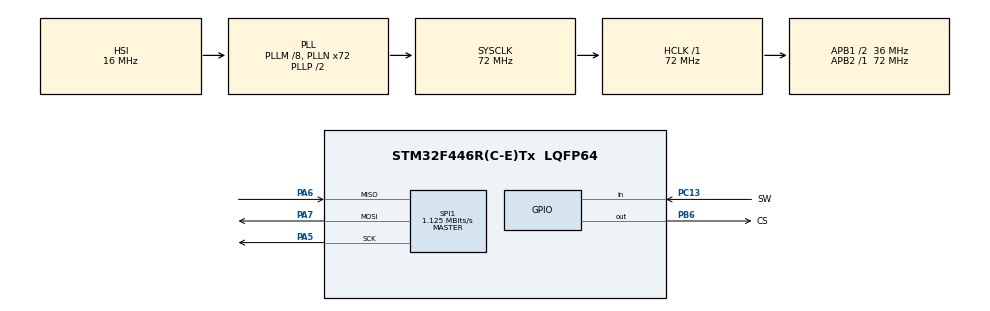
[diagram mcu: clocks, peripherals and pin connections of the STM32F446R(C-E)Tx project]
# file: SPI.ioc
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Mcu.Family=STM32F4
Mcu.Name=STM32F446R(C-E)Tx
Mcu.Package=LQFP64
NVIC.PriorityGroup=NVIC_PRIORITYGROUP_4
PA13.Mode=Serial_Wire
PA13.Signal=SYS_JTMS-SWDIO
PA14.Mode=Serial_Wire
PA14.Signal=SYS_JTCK-SWCLK
PA5.Mode=Full_Duplex_Master
PA5.Signal=SPI1_SCK
PA6.Mode=Full_Duplex_Master
PA6.Signal=SPI1_MISO
PA7.Mode=Full_Duplex_Master
PA7.Signal=SPI1_MOSI
PB6.GPIO_Label=CS
PB6.GPIO_Speed=GPIO_SPEED_FREQ_VERY_HIGH
PB6.PinState=GPIO_PIN_SET
PB6.Signal=GPIO_Output
PC13.GPIO_Label=SW
PC13.Signal=GPIO_Input
ProjectManager.HeapSize=0x200
ProjectManager.StackSize=0x400
ProjectManager.TargetToolchain=STM32CubeIDE
RCC.AHBFreq_Value=72000000
RCC.APB1CLKDivider=RCC_HCLK_DIV2
RCC.APB1Freq_Value=36000000
RCC.APB1TimFreq_Value=72000000
RCC.APB2Freq_Value=72000000
RCC.APB2TimFreq_Value=72000000
RCC.CortexFreq_Value=72000000
RCC.HCLKFreq_Value=72000000
RCC.PLLM=8
RCC.PLLN=72
RCC.SYSCLKFreq_VALUE=72000000
RCC.SYSCLKSource=RCC_SYSCLKSOURCE_PLLCLK
RCC.USBFreq_Value=72000000
RCC.VCOOutputFreq_Value=144000000
SPI1.BaudRatePrescaler=SPI_BAUDRATEPRESCALER_64
SPI1.CalculateBaudRate=1.125 MBits/s
SPI1.DataSize=SPI_DATASIZE_8BIT
SPI1.Direction=SPI_DIRECTION_2LINES
SPI1.Mode=SPI_MODE_MASTER
SPI1.VirtualType=VM_MASTER
board=custom

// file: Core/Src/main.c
/* USER CODE BEGIN Header */
/**
  ******************************************************************************
  * @file           : main.c
  * @brief          : Main program body
  ******************************************************************************
  * @attention
  *
  * Copyright (c) 2022 STMicroelectronics.
  * All rights reserved.
  *
  * This software is licensed under terms that can be found in the LICENSE file
  * in the root directory of this software component.
  * If no LICENSE file comes with this software, it is provided AS-IS.
  *
  ******************************************************************************
  */
/* USER CODE END Header */
#include "main.h"

SPI_HandleTypeDef hspi1;

void SystemClock_Config(void);
static void MX_GPIO_Init(void);
static void MX_SPI1_Init(void);
/* USER CODE BEGIN PFP */
void  MCP4131_Write(uint8_t value);
uint8_t MCP4131_Read(void);

/* USER CODE END PFP */

int main(void)
{

  /* MCU Configuration--------------------------------------------------------*/

  /* Reset of all peripherals, Initializes the Flash interface and the Systick. */
  HAL_Init();

  /* Configure the system clock */
  SystemClock_Config();

  /* Initialize all configured peripherals */
  MX_GPIO_Init();
  MX_SPI1_Init();
  /* USER CODE BEGIN 2 */
  uint8_t value=4;
  uint8_t button;

  value = MCP4131_Read();
  MCP4131_Write(value);

  value = MCP4131_Read();
    MCP4131_Write(value);

  /* USER CODE END 2 */

  /* Infinite loop */
  /* USER CODE BEGIN WHILE */
  while (1)
  {
	  button = HAL_GPIO_ReadPin(SW_GPIO_Port, SW_Pin);
      if(!button){
          if(value>128){
              value=0;
          }else{
              value++;
              MCP4131_Write(value);
              HAL_Delay(200);
          }

      }
    /* USER CODE END WHILE */

  }
}

void SystemClock_Config(void)
{
  RCC_OscInitTypeDef RCC_OscInitStruct = {0};
  RCC_ClkInitTypeDef RCC_ClkInitStruct = {0};

  /** Configure the main internal regulator output voltage
  */
  __HAL_RCC_PWR_CLK_ENABLE();
  __HAL_PWR_VOLTAGESCALING_CONFIG(PWR_REGULATOR_VOLTAGE_SCALE3);

  /** Initializes the RCC Oscillators according to the specified parameters
  * in the RCC_OscInitTypeDef structure.
  */
  RCC_OscInitStruct.OscillatorType = RCC_OSCILLATORTYPE_HSI;
  RCC_OscInitStruct.HSIState = RCC_HSI_ON;
  RCC_OscInitStruct.HSICalibrationValue = RCC_HSICALIBRATION_DEFAULT;
  RCC_OscInitStruct.PLL.PLLState = RCC_PLL_ON;
  RCC_OscInitStruct.PLL.PLLSource = RCC_PLLSOURCE_HSI;
  RCC_OscInitStruct.PLL.PLLM = 8;
  RCC_OscInitStruct.PLL.PLLN = 72;
  RCC_OscInitStruct.PLL.PLLP = RCC_PLLP_DIV2;
  RCC_OscInitStruct.PLL.PLLQ = 2;
  RCC_OscInitStruct.PLL.PLLR = 2;
  if (HAL_RCC_OscConfig(&RCC_OscInitStruct) != HAL_OK)
  {
    Error_Handler();
  }

  /** Initializes the CPU, AHB and APB buses clocks
  */
  RCC_ClkInitStruct.ClockType = RCC_CLOCKTYPE_HCLK|RCC_CLOCKTYPE_SYSCLK
                              |RCC_CLOCKTYPE_PCLK1|RCC_CLOCKTYPE_PCLK2;
  RCC_ClkInitStruct.SYSCLKSource = RCC_SYSCLKSOURCE_PLLCLK;
  RCC_ClkInitStruct.AHBCLKDivider = RCC_SYSCLK_DIV1;
  RCC_ClkInitStruct.APB1CLKDivider = RCC_HCLK_DIV2;
  RCC_ClkInitStruct.APB2CLKDivider = RCC_HCLK_DIV1;

  if (HAL_RCC_ClockConfig(&RCC_ClkInitStruct, FLASH_LATENCY_2) != HAL_OK)
  {
    Error_Handler();
  }
}

static void MX_SPI1_Init(void)
{

  /* SPI1 parameter configuration*/
  hspi1.Instance = SPI1;
  hspi1.Init.Mode = SPI_MODE_MASTER;
  hspi1.Init.Direction = SPI_DIRECTION_2LINES;
  hspi1.Init.DataSize = SPI_DATASIZE_8BIT;
  hspi1.Init.CLKPolarity = SPI_POLARITY_LOW;
  hspi1.Init.CLKPhase = SPI_PHASE_1EDGE;
  hspi1.Init.NSS = SPI_NSS_SOFT;
  hspi1.Init.BaudRatePrescaler = SPI_BAUDRATEPRESCALER_64;
  hspi1.Init.FirstBit = SPI_FIRSTBIT_MSB;
  hspi1.Init.TIMode = SPI_TIMODE_DISABLE;
  hspi1.Init.CRCCalculation = SPI_CRCCALCULATION_DISABLE;
  hspi1.Init.CRCPolynomial = 10;
  if (HAL_SPI_Init(&hspi1) != HAL_OK)
  {
    Error_Handler();
  }

}

static void MX_GPIO_Init(void)
{
  GPIO_InitTypeDef GPIO_InitStruct = {0};

  /* GPIO Ports Clock Enable */
  __HAL_RCC_GPIOC_CLK_ENABLE();
  __HAL_RCC_GPIOA_CLK_ENABLE();
  __HAL_RCC_GPIOB_CLK_ENABLE();

  /*Configure GPIO pin Output Level */
  HAL_GPIO_WritePin(CS_GPIO_Port, CS_Pin, GPIO_PIN_SET);

  /*Configure GPIO pin : SW_Pin */
  GPIO_InitStruct.Pin = SW_Pin;
  GPIO_InitStruct.Mode = GPIO_MODE_INPUT;
  GPIO_InitStruct.Pull = GPIO_NOPULL;
  HAL_GPIO_Init(SW_GPIO_Port, &GPIO_InitStruct);

  /*Configure GPIO pin : CS_Pin */
  GPIO_InitStruct.Pin = CS_Pin;
  GPIO_InitStruct.Mode = GPIO_MODE_OUTPUT_PP;
  GPIO_InitStruct.Pull = GPIO_NOPULL;
  GPIO_InitStruct.Speed = GPIO_SPEED_FREQ_VERY_HIGH;
  HAL_GPIO_Init(CS_GPIO_Port, &GPIO_InitStruct);

}

/* USER CODE BEGIN 4 */
void  MCP4131_Write(uint8_t value){ //0 - 128 (128 valores), 0=124ohmios y 128=46.8kohmios para 50kOhmios
	uint8_t MCP4131_WRITE = 0b00000000;
	//uint8_t MCP4131_READ  = 0b00001100;

	uint8_t buf_tx[2];
	uint8_t buf_rx[2];

	buf_tx[0] = MCP4131_WRITE;
	buf_tx[1] = value;

	HAL_GPIO_WritePin(CS_GPIO_Port, CS_Pin, RESET);
	HAL_SPI_TransmitReceive(&hspi1, buf_tx, buf_rx, 2, 100);
	HAL_GPIO_WritePin(CS_GPIO_Port, CS_Pin, SET);

}

uint8_t MCP4131_Read(void){
	uint8_t MCP4131_READ  = 0b00001100;

	uint8_t buf_tx[2];
	uint8_t buf_rx[2];

	buf_tx[0] = MCP4131_READ;
	buf_tx[1] = 255;

	HAL_GPIO_WritePin(CS_GPIO_Port, CS_Pin, RESET);
	HAL_SPI_TransmitReceive(&hspi1, buf_tx, buf_rx, 2, 100);
	HAL_GPIO_WritePin(CS_GPIO_Port, CS_Pin, SET);

	return buf_rx[1];

}

/* USER CODE END 4 */

void Error_Handler(void)
{
  __disable_irq();
  while (1)
  {
  }
}
